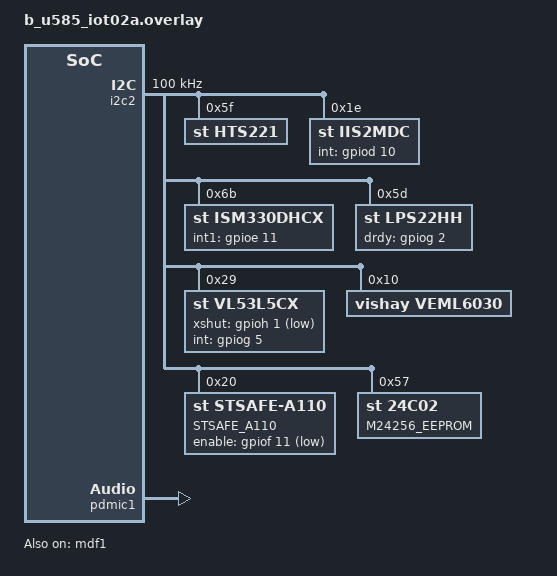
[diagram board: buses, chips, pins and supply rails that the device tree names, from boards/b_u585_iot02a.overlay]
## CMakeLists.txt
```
# SPDX-License-Identifier: Apache-2.0

cmake_minimum_required(VERSION 3.20.0)

find_package(Zephyr REQUIRED HINTS $ENV{ZEPHYR_BASE})
project(fronimo)

# Add custom drivers
add_subdirectory(drivers)

target_sources(app PRIVATE  src/main.cpp
                            src/sensors/hts221.cpp
                            src/sensors/iis2mdc.cpp
                            src/sensors/ism330dhcx.cpp
                            src/sensors/lps22hh.cpp
                            src/sensors/vl53l5cx.cpp
                            src/sensors/veml6030.cpp
)
```

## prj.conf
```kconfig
CONFIG_CPP=y
CONFIG_NEWLIB_LIBC=y
CONFIG_STDOUT_CONSOLE=y
CONFIG_LOG=y
CONFIG_I2C=y
CONFIG_SENSOR=y
CONFIG_HTS221=y
CONFIG_IIS2MDC=y
CONFIG_ISM330DHCX=y
CONFIG_LPS22HH=y
CONFIG_LPS22HH_TRIGGER_GLOBAL_THREAD=y
CONFIG_GPIO=y

# VL53L5CX Time-of-Flight sensor
CONFIG_VL53L5CX=y

# VEML7700 ambient light sensor (compatible with VEML6030)
CONFIG_VEML7700=y

CONFIG_FPU=y
CONFIG_NEWLIB_LIBC_FLOAT_PRINTF=y


# Audio subsystem and PDM microphones
CONFIG_AUDIO=y
CONFIG_AUDIO_DMIC=y
CONFIG_AUDIO_STM32_MDF=y
```

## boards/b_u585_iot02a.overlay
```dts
/* b_u585i_iot02a.overlay
 *
 * Zephyr devicetree overlay for ST B-U585I-IOT02A
 * Enables I2C2 MEMS/environment sensors, secure element,
 * EEPROM, and dual digital microphones (PDM via MDF/ADF).
 */

/ {
	chosen {
		zephyr,console = &usart1;
	};
};

/* --- I2C2 sensor cluster --- */
&i2c2 {
	status = "okay";
	clock-frequency = <I2C_BITRATE_STANDARD>; /* 100 kHz */

    // Humidity & Temperature Sensor
	hts221@5f {
		compatible = "st,hts221";
		reg = <0x5f>;
		label = "HTS221";
	};

    // Magnetometer
	iis2mdc@1e {
		compatible = "st,iis2mdc";
		reg = <0x1e>;
		label = "IIS2MDC";
		int-gpios = <&gpiod 10 GPIO_ACTIVE_HIGH>; /* PD10 */
	};

    // Accelerometer + Gyroscope
	ism330dhcx@6b {
		compatible = "st,ism330dhcx";
		reg = <0x6b>;
		label = "ISM330DHCX";
		int1-gpios = <&gpioe 11 GPIO_ACTIVE_HIGH>; /* PE11 */
	};

    // Pressure Sensor
	lps22hh@5d {
		compatible = "st,lps22hh";
		reg = <0x5d>;
		label = "LPS22HH";
		drdy-gpios = <&gpiog 2 GPIO_ACTIVE_HIGH>; /* PG2 */
	};

    // ToF Sensor
	vl53l5cx@29 {
		compatible = "st,vl53l5cx";
		reg = <0x29>;
		label = "VL53L5CX";
		xshut-gpios = <&gpioh 1 GPIO_ACTIVE_LOW>; /* PH1 */
		int-gpios   = <&gpiog 5 GPIO_ACTIVE_HIGH>; /* PG5 */
	};

    // Ambient Light Sensor
	veml6030@10 {
		compatible = "vishay,veml6030";
		reg = <0x10>;
		label = "VEML6030";
	};

    // Secure Element
	stsafe@20 {
		compatible = "st,stsafe-a110";
		reg = <0x20>;
		label = "STSAFE_A110";
		enable-gpios = <&gpiof 11 GPIO_ACTIVE_LOW>; /* PF11 */
	};

    // EEPROM
	eeprom@57 {
		compatible = "st,24c02"; /* or st,24c256 depending on binding */
		reg = <0x57>;
		label = "M24256_EEPROM";
	};
};

/* --- Digital microphones --- */
/ {
	sound {
		compatible = "simple-audio-card";
		simple-audio-card,name = "PDM MEMS Mics";
		simple-audio-card,bitclock-master = <&dailink0_master>;
		simple-audio-card,frame-master = <&dailink0_master>;

		dailink0_master: simple-audio-card,cpu {
			sound-dai = <&mdf1>;
		};

		simple-audio-card,codec {
			sound-dai = <&pdmic1>;
		};
	};
};

&mdf1 {
	status = "okay";
};

&pdmic1 {
	status = "okay";
	/* Mic1: PE9 (CLK0), PE10 (SDINx)
	 * Mic2: PF10 (CLK1), PB1 (SDIN0)
	 */
};
```

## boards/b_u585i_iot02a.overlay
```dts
/* b_u585i_iot02a.overlay
 *
 * Zephyr devicetree overlay for ST B-U585I-IOT02A
 * Enables I2C2 MEMS/environment sensors, secure element,
 * EEPROM, and dual digital microphones (PDM via MDF/ADF).
 */

/ {
	chosen {
		zephyr,console = &usart1;
	};
};

/* --- I2C2 sensor cluster --- */
&i2c2 {
	status = "okay";
	clock-frequency = <I2C_BITRATE_STANDARD>; /* 100 kHz */

    // Humidity & Temperature Sensor
	hts221@5f {
		compatible = "st,hts221";
		reg = <0x5f>;
		label = "HTS221";
	};

    // Magnetometer
	iis2mdc@1e {
		compatible = "st,iis2mdc";
		reg = <0x1e>;
		label = "IIS2MDC";
	};

    // Accelerometer + Gyroscope
	ism330dhcx@6b {
		compatible = "st,ism330dhcx";
		reg = <0x6b>;
		label = "ISM330DHCX";
	};

    // Pressure Sensor
	lps22hh@5d {
		compatible = "st,lps22hh";
		reg = <0x5d>;
		label = "LPS22HH";
	};

    // ToF Sensor (Custom driver - under development)
	vl53l5cx: vl53l5cx@29 {
		compatible = "st,vl53l5cx";
		reg = <0x29>;
		label = "VL53L5CX";
		xshut-gpios = <&gpioh 1 GPIO_ACTIVE_LOW>; /* PH1 */
		int-gpios   = <&gpiog 5 GPIO_ACTIVE_HIGH>; /* PG5 */
	};
	
	// Override the VEML6030 on the board to use VEML7700 driver with proper PSM
	veml7700: veml7700@10 {
		compatible = "vishay,veml7700";
		reg = <0x10>;
		psm-mode = <1>; /* Enable PSM mode 1 for continuous operation */
		status = "okay";
	};

    /* Secure Element - disabled for now
	stsafe@20 {
		compatible = "st,stsafe-a110";
		reg = ;<0x20>;
		label = "STSAFE_A110";
		enable-gpios = <&gpiof 11 GPIO_ACTIVE_LOW>;
	};
    */

    /* EEPROM - disabled for now
	eeprom@57 {
		compatible = "st,24c02";
		reg = <0x57>;
		label = "M24256_EEPROM";
	};
    */
};

/* --- PDM microphones configuration --- */
/ {
	aliases {
		pdm-mic = &pdm_mic;
	};

	pdm_mic: pdm_microphones {
		compatible = "pdm-microphones";
		status = "okay";
		
		/* Hardware properties */
		sample-rates = <8000 16000 32000 48000>;
		channels = <2>;
		bit-width = <16>;
		
		/* MDF peripheral pins */
		clk0-gpios = <&gpioe 9 GPIO_ACTIVE_HIGH>;   /* PE9 - MDF1_CCK0 */
		data0-gpios = <&gpioe 10 0>;                /* PE10 - MDF1_SDI0 */
		clk1-gpios = <&gpiof 10 GPIO_ACTIVE_HIGH>;  /* PF10 - MDF1_CCK1 */
		data1-gpios = <&gpiof 9 0>;                 /* PF9 - MDF1_SDI1 */
		
		/* MDF configuration */
		decimation-ratio = <64>;
		filter-order = <5>;
		gain = <0>; /* 0 dB */
	};
	
	/* MDF1 peripheral device node */
	mdf1_filter0: mdf@40c20000 {
		compatible = "st,stm32-mdf";
		reg = <0x40c20000 0x400>;
		interrupts = <160 0>;  /* MDF1_FLT0 interrupt */
		interrupt-parent = <&nvic>;
		clocks = <&rcc STM32_CLOCK_BUS_AHB1 0x800>; /* MDF1EN bit 11 */
		status = "okay";
		#address-cells = <1>;
		#size-cells = <0>;
		
		/* Filter configuration */
		st,filter-id = <0>;
		st,channels = <2>;
		st,sample-rate = <16000>;
		st,decimation-ratio = <64>;
	};
};

/* The MP23DB01HPTR microphones are connected to:
 * - Left Mic:  CLK=PE9 (MDF1_CCK0), DATA=PE10 (MDF1_SDI0)  
 * - Right Mic: CLK=PF10 (MDF1_CCK1), DATA=PF9 (MDF1_SDI1)
 * 
 * MDF1 peripheral features:
 * - Base address: 0x40C20000
 * - Clock: AHB1 bus, bit 11 (MDF1EN)
 * - DMA: GPDMA1 channels
 * - Interrupts: MDF1_FLT0 (160), MDF1_FLT1 (161)
 * 
 * Note: The MDF1 peripheral node would normally be defined in the main
 * STM32U5 device tree. For now, we rely on the custom MDF driver to
 * directly access the peripheral registers at 0x40C20000.
 */
```

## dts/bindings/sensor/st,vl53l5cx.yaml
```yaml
# Copyright (c) 2025 David Cemin
# SPDX-License-Identifier: Apache-2.0

description: ST VL53L5CX Time-of-Flight sensor

compatible: "st,vl53l5cx"

include: [sensor-device.yaml, i2c-device.yaml]

properties:
  int-gpios:
    type: phandle-array
    description: |
      The INT signal connection. This signal is an active-high interrupt.
      
  xshut-gpios:
    type: phandle-array
    description: |
      The XSHUT signal connection. This signal is an active-low shutdown pin.
      When driven low, the sensor enters hardware standby mode.
      
  resolution:
    type: int
    default: 16
    enum:
      - 16  # 4x4 zones
      - 64  # 8x8 zones
    description: |
      Number of ranging zones. 16 for 4x4 matrix, 64 for 8x8 matrix.
      
  ranging-frequency-hz:
    type: int
    default: 10
    description: |
      Ranging frequency in Hz. Valid range is 1-60 Hz depending on resolution.
      
  integration-time-ms:
    type: int
    default: 5
    description: |
      Integration time in milliseconds. Affects ranging performance vs power consumption.
```

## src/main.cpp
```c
#include <zephyr/kernel.h>
#include <zephyr/logging/log.h>
#include <stdlib.h>
#include "sensors/hts221.h"
#include "sensors/iis2mdc.h"
#include "sensors/ism330dhcx.h"
#include "sensors/lps22hh.h"
#include "sensors/vl53l5cx.h"
#include "sensors/veml6030.h"
#include "sensors/pdm_mics.h"

LOG_MODULE_REGISTER(app, LOG_LEVEL_INF);

int main(void) {
    LOG_INF("B-U585I-IOT02A C++ Sensor Example");

    HTS221 hts;
    IIS2MDC mag;
    ISM330DHCX imu;
    LPS22HH lps;
    VL53L5CX tof;  // Hardware detected ✅, measurements require ULD firmware
    VEML6030 als;
    PDMMicrophones mics; // Placeholder - driver not available yet

    if (!hts.isReady()) {
        LOG_ERR("HTS221 not available");
        return 0;
    }

    if (!mag.isReady()) {
        LOG_ERR("IIS2MDC not available");
        return 0;
    }
    if (!imu.isReady()) {
        LOG_ERR("ISM330DHCX not available");
        return 0;
    }
    if(!lps.isReady()) {
        LOG_ERR("LPS22HH not available");
        return 0;
    }

    if(!tof.isReady()) {
        LOG_WRN("VL53L5CX not available (expected until physical sensor connected)");
    }

    if(!als.isReady()) {
        LOG_ERR("VEML7700 (ALS) not available");
        return 0;
    }

    lps.setMode(LPS22HH::Mode::ONE_SHOT);

    while (true) {
        if (hts.sample()) {
            float temp = hts.getTemperature();
            float hum = hts.getHumidity();
            LOG_INF("Temperature: %d.%02d °C, Humidity: %d.%02d %%", 
                    (int)temp, (int)((temp - (int)temp) * 100),
                    (int)hum, (int)((hum - (int)hum) * 100));
        }
        if (mag.sample()) {
            float magX = mag.getMagX();
            float magY = mag.getMagY();
            float magZ = mag.getMagZ();
            LOG_INF("Mag [uT]: X=%d.%02d, Y=%d.%02d, Z=%d.%02d",
                    (int)magX, (int)((magX - (int)magX) * 100),
                    (int)magY, (int)((magY - (int)magY) * 100),
                    (int)magZ, (int)((magZ - (int)magZ) * 100));
        }
        if (imu.sample()) {
            float ax = imu.getAccelX();
            float ay = imu.getAccelY();
            float az = imu.getAccelZ();
            float gx = imu.getGyroX();
            float gy = imu.getGyroY();
            float gz = imu.getGyroZ();
            
            // Handle negative values correctly
            int ax_int = (int)(ax * 100);
            int ay_int = (int)(ay * 100);
            int az_int = (int)(az * 100);
            int gx_int = (int)(gx * 100);
            int gy_int = (int)(gy * 100);
            int gz_int = (int)(gz * 100);
            
            LOG_INF("Accel [mg]: X=%d.%02d, Y=%d.%02d, Z=%d.%02d",
                    ax_int / 100, abs(ax_int % 100),
                    ay_int / 100, abs(ay_int % 100),
                    az_int / 100, abs(az_int % 100));
            LOG_INF("Gyro [mdps]: X=%d.%02d, Y=%d.%02d, Z=%d.%02d",
                    gx_int / 100, abs(gx_int % 100),
                    gy_int / 100, abs(gy_int % 100),
                    gz_int / 100, abs(gz_int % 100));
        }

        if(lps.sample()) {
            float pressure = lps.getPressure();
            float temperature = lps.getTemperature();
            LOG_INF("Pressure: %d.%02d kPa, Temperature: %d.%02d °C",
                    (int)pressure, (int)((pressure - (int)pressure) * 100),
                    (int)temperature, (int)((temperature - (int)temperature) * 100));
        }

        if(tof.isReady() && tof.sample()) {
            float distance = tof.getDistance();
            LOG_INF("Distance: %d.%02d mm",
                    (int)distance, (int)((distance - (int)distance) * 100));
        }

        if(als.sample()) {
            float lux = als.getLux();
            LOG_INF("Ambient Light: %d.%02d lux",
                    (int)lux, (int)((lux - (int)lux) * 100));
        }
        LOG_INF("-------------------------------------------------------------------");
        
        k_sleep(K_SECONDS(2));
    }
}
```
